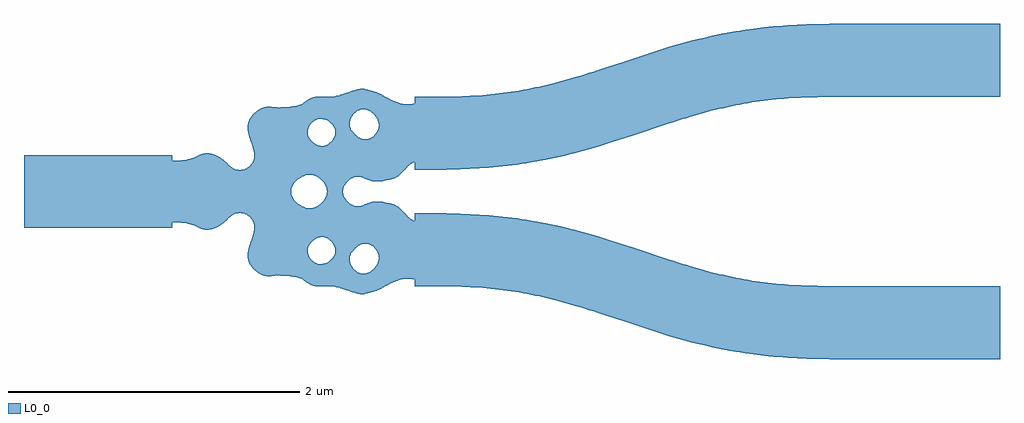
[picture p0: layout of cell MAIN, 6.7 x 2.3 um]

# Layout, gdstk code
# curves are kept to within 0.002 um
import gdstk
lib = gdstk.Library(unit=1e-6, precision=1e-09)
def R(c, l, rs):  # rectangles x0, y0, x1, y1
    for r in rs: c.add(gdstk.rectangle(r[:2], r[2:], *l))
def P(c, l, *ps):  # polygons
    for p in ps: c.add(gdstk.Polygon(p, *l))
L0_0 = (0, 0)

main_y = lib.new_cell('MAIN_Y')
R(main_y, L0_0, [(-3.35,0,-2.334,0.25)])
P(main_y, L0_0, [(-0.481,0.151),(-0.226,0.159),(-0.064,0.173),(0.068,0.19),(0.232,0.218),(0.427,0.263),(0.587,0.308),(0.837,0.387),(1.107,0.477),(1.366,0.553),(1.507,0.586),(1.701,0.62),(1.869,0.638),(2.068,0.648),(3.35,0.65),(3.35,1.15),(2.118,1.149),(1.894,1.141),(1.732,1.127),(1.633,1.115),(1.436,1.082),(1.241,1.037),(0.986,0.963),(0.445,0.787),(0.302,0.747),(0.161,0.714),(-0.033,0.68),(-0.201,0.662),(-0.4,0.652),(-0.666,0.65),(-0.666,0.15)],
  [(-1.806,0.387),(-1.778,0.303),(-1.778,0.527),(-1.799,0.498),(-1.812,0.466),(-1.815,0.434)],
  [(-1.778,0.203),(-1.792,0.182),(-1.818,0.161),(-1.845,0.15),(-1.874,0.147),(-1.89,0.149),(-1.918,0.161),(-2.002,0.232),(-2.03,0.247),(-2.066,0.26),(-2.098,0.262),(-2.13,0.256),(-2.19,0.229),(-2.238,0.216),(-2.274,0.212),(-2.35,0.212),(-2.35,0),(-1.778,0)],
  [(-1.402,0.414),(-1.398,0.434),(-1.389,0.454),(-1.369,0.478),(-1.369,0.645),(-1.39,0.636),(-1.438,0.603),(-1.474,0.588),(-1.526,0.58),(-1.59,0.576),(-1.666,0.582),(-1.698,0.579),(-1.736,0.562),(-1.778,0.527),(-1.778,0.402),(-1.402,0.402)],
  [(-1.516,0.006),(-1.511,0.03),(-1.501,0.05),(-1.489,0.066),(-1.466,0.087),(-1.418,0.111),(-1.394,0.116),(-1.369,0.114),(-1.369,0.339),(-1.382,0.352),(-1.394,0.371),(-1.402,0.402),(-1.778,0.402),(-1.778,0.302),(-1.768,0.258),(-1.769,0.23),(-1.778,0.203),(-1.778,0),(-1.516,0)],
  [(-1.364,0.482),(-1.342,0.494),(-1.322,0.499),(-1.294,0.497),(-1.262,0.484),(-1.243,0.47),(-1.22,0.442),(-1.213,0.422),(-1.212,0.402),(-1.216,0.382),(-1.23,0.355),(-1.246,0.337),(-1.278,0.317),(-1.298,0.312),(-1.322,0.313),(-1.342,0.32),(-1.369,0.339),(-1.369,0.114),(-1.338,0.103),(-1.302,0.074),(-1.289,0.058),(-1.276,0.034),(-1.269,0),(-1.162,0),(-1.159,0.022),(-1.152,0.038),(-1.139,0.058),(-1.122,0.076),(-1.122,0.681),(-1.218,0.652),(-1.338,0.652),(-1.369,0.645),(-1.369,0.478)],
  [(-1.115,0.474),(-1.107,0.502),(-1.094,0.524),(-1.074,0.545),(-1.05,0.559),(-1.026,0.565),(-1.006,0.564),(-0.99,0.559),(-0.962,0.543),(-0.962,0.689),(-1.014,0.704),(-1.042,0.705),(-1.122,0.681),(-1.122,0.458),(-1.115,0.458)],
  [(-1.118,0.079),(-1.094,0.095),(-1.074,0.101),(-1.054,0.102),(-1.034,0.099),(-0.978,0.076),(-0.962,0.073),(-0.962,0.371),(-0.982,0.361),(-0.998,0.358),(-1.022,0.359),(-1.05,0.369),(-1.066,0.38),(-1.088,0.402),(-1.107,0.43),(-1.115,0.458),(-1.122,0.458),(-1.122,0.076)],
  [(-0.914,0.072),(-0.886,0.072),(-0.842,0.08),(-0.826,0.084),(-0.79,0.1),(-0.762,0.121),(-0.702,0.184),(-0.67,0.203),(-0.65,0.209),(-0.65,0.604),(-0.738,0.599),(-0.77,0.605),(-0.83,0.628),(-0.91,0.672),(-0.962,0.689),(-0.962,0.543),(-0.944,0.526),(-0.93,0.507),(-0.918,0.482),(-0.913,0.458),(-0.917,0.43),(-0.928,0.406),(-0.938,0.392),(-0.962,0.371),(-0.962,0.073)])

main = lib.new_cell('MAIN')
main.add(gdstk.Reference(main_y, (0,0)))
main.add(gdstk.Reference(main_y, (0,0), x_reflection=True))

lib.write_gds('MAIN.gds')
